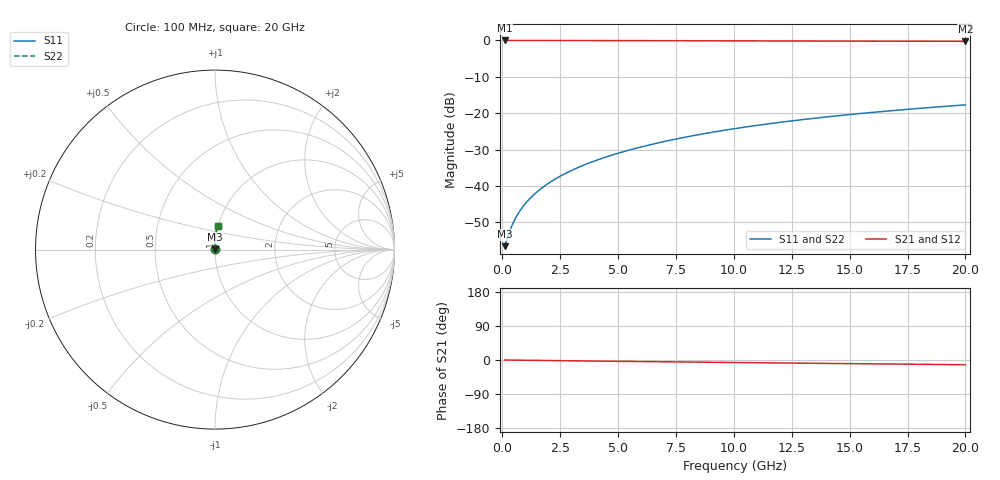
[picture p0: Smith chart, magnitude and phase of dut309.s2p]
! Touchstone file exported from HFSS 2024.1.0
!  File:  C:/UserFiles/LocalFiles/RDL_TSV_Batchsim/temp_RDL_top_309_1779606537.aedt
!  Generated:  03:11:38 PM May 24, 2026
!  Design:  RDL_top
!  Project:  temp_RDL_top_309_1779606537
!  Setup:  Setup1
!  Solution:  Sweep
! Variables:
!  dtsv = 10.80580581um
!  hbump = 3um
!  htsv = 78.54um
!  ldown = 100um
!  lrdl = 154.47um
!  p = 40
!  p1 = 44.9um
!  rhole = 1um
!  t = 450um
!  tdown = 3.915915916um
!  trdl = 2.29um
!  wdown = 15.38538539um
!  wrdl = 24.75um
# GHz S MA R 50.000000
! Terminal data exported
! Port[1] = Box2_T1
! Port[2] = Box2_T2
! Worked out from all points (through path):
!   200 points, 100 MHz to 20 GHz, reference 50 ohm
!   highest |S21| = -0.01 dB at 100 MHz (marker M1); lowest = -0.3 dB at 20 GHz (marker M2)
!   group delay of S21, straight-line fit = 1.72 ps
!   lowest |S11| = -56.5 dB at 100 MHz (marker M3), VSWR 1.00, Z = 50.1 + j0.0612 ohm
!   |S11| at or under -10 dB: start of sweep to end of sweep
!   |S22| runs from -56.5 to -17.7 dB; largest |S21 - S12| = 2.7e-15
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0.1  0.001493 24.1  0.9986 -0.1  0.9986 -0.1  0.001493 24.1
! Gamma 0 0 0 0
! Port Impedance 50 0 50 0
0.3  0.002294 51.1  0.9985 -0.2  0.9985 -0.2  0.002294 51.1
0.4  0.002776 57.6  0.9985 -0.3  0.9985 -0.3  0.002776 57.6
0.6  0.003762 65.5  0.9983 -0.4  0.9983 -0.4  0.003762 65.5
0.7  0.004257 68.2  0.9983 -0.5  0.9983 -0.5  0.004257 68.2
0.9  0.005253 72.2  0.9981 -0.7  0.9981 -0.7  0.005253 72.2
1.2  0.006769 76.4  0.998 -0.9  0.998 -0.9  0.006769 76.4
1.4  0.007796 78.4  0.9978 -1.0  0.9978 -1.0  0.007796 78.4
1.7  0.009361 80.8  0.9976 -1.2  0.9976 -1.2  0.009361 80.8
2.2  0.01203 83.6  0.9972 -1.6  0.9972 -1.6  0.01203 83.6
2.8  0.01532 85.8  0.9966 -2.0  0.9966 -2.0  0.01532 85.8
3.5  0.01928 87.6  0.9958 -2.5  0.9958 -2.5  0.01928 87.6
4.2  0.02337 88.8  0.9949 -2.9  0.9949 -2.9  0.02337 88.8
5  0.0282 89.7  0.9938 -3.5  0.9938 -3.5  0.0282 89.7
5.9  0.03382 90.3  0.9924 -4.1  0.9924 -4.1  0.03382 90.3
6.8  0.03961 90.6  0.991 -4.7  0.991 -4.7  0.03961 90.6
8.4  0.05023 90.4  0.9884 -5.7  0.9884 -5.7  0.05023 90.4
10.1  0.06183 89.8  0.9856 -6.7  0.9856 -6.7  0.06183 89.8
11.7  0.07291 88.9  0.9831 -7.7  0.9831 -7.7  0.07291 88.9
13.4  0.08474 87.7  0.9805 -8.7  0.9805 -8.7  0.08474 87.7
16.7  0.1076 85.4  0.9756 -10.6  0.9756 -10.6  0.1076 85.4
20  0.1302 82.9  0.9708 -12.5  0.9708 -12.5  0.1302 82.9
